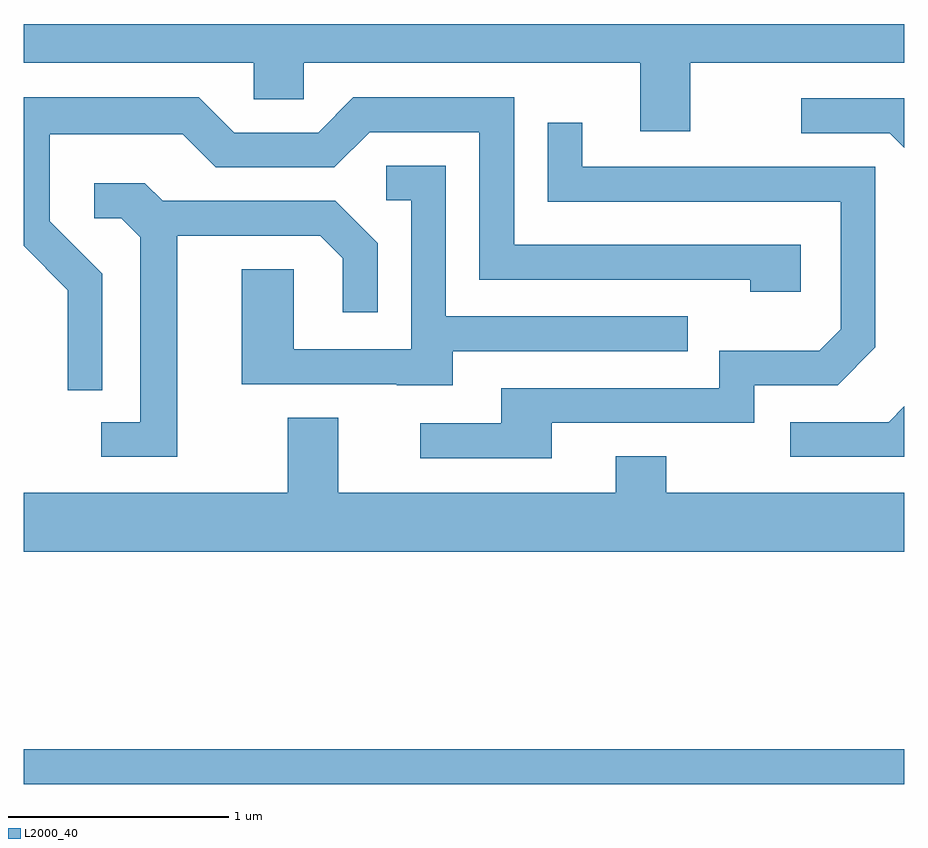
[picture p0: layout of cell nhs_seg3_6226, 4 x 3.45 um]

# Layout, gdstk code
import gdstk
lib = gdstk.Library(unit=1e-6, precision=1e-09)
def R(c, l, rs):  # rectangles x0, y0, x1, y1
    for r in rs: c.add(gdstk.rectangle(r[:2], r[2:], *l))
def P(c, l, *ps):  # polygons
    for p in ps: c.add(gdstk.Polygon(p, *l))
L2000_40 = (2000, 40)

nhs_seg3_6226 = lib.new_cell('nhs_seg3_6226')
R(nhs_seg3_6226, L2000_40, [(367.611,1200.441,371.611,1200.599)])
P(nhs_seg3_6226, L2000_40, [(370.639,1203.716),(371.611,1203.716),(371.611,1203.892),(367.611,1203.892),(367.611,1203.716),(368.656,1203.716),(368.656,1203.551),(368.884,1203.551),(368.884,1203.716),(370.411,1203.716),(370.411,1203.406),(370.639,1203.406)],
  [(367.969,1202.757),(367.729,1202.997),(367.729,1203.391),(368.334,1203.391),(368.484,1203.241),(369.022,1203.241),(369.182,1203.401),(369.681,1203.401),(369.681,1202.731),(370.911,1202.731),(370.911,1202.676),(371.139,1202.676),(371.139,1202.889),(369.839,1202.889),(369.839,1203.559),(369.109,1203.559),(368.949,1203.399),(368.567,1203.399),(368.407,1203.559),(367.611,1203.559),(367.611,1202.884),(367.811,1202.684),(367.811,1202.228),(367.969,1202.228)],
  [(371.611,1203.554),(371.143,1203.554),(371.143,1203.396),(371.544,1203.396),(371.611,1203.329)],
  [(370.009,1202.081),(370.929,1202.081),(370.929,1202.251),(371.307,1202.251),(371.479,1202.424),(371.479,1203.244),(370.149,1203.244),(370.149,1203.443),(369.991,1203.443),(369.991,1203.086),(371.321,1203.086),(371.321,1202.507),(371.224,1202.409),(370.771,1202.409),(370.771,1202.239),(369.781,1202.239),(369.781,1202.079),(369.413,1202.079),(369.413,1201.921),(370.009,1201.921)],
  [(369.559,1202.406),(370.628,1202.406),(370.628,1202.564),(369.529,1202.564),(369.529,1203.249),(369.258,1203.249),(369.258,1203.091),(369.371,1203.091),(369.371,1202.414),(368.839,1202.414),(368.839,1202.779),(368.601,1202.779),(368.601,1202.256),(369.305,1202.256),(369.305,1202.251),(369.559,1202.251)],
  [(368.309,1202.931),(368.959,1202.931),(369.061,1202.829),(369.061,1202.583),(369.219,1202.583),(369.219,1202.897),(369.027,1203.089),(368.242,1203.089),(368.162,1203.169),(367.933,1203.169),(367.933,1203.011),(368.054,1203.011),(368.141,1202.924),(368.141,1202.084),(367.963,1202.084),(367.963,1201.926),(368.309,1201.926)],
  [(371.611,1202.157),(371.539,1202.084),(371.093,1202.084),(371.093,1201.926),(371.611,1201.926)],
  [(371.611,1201.764),(370.529,1201.764),(370.529,1201.929),(370.301,1201.929),(370.301,1201.764),(369.039,1201.764),(369.039,1202.104),(368.811,1202.104),(368.811,1201.764),(367.611,1201.764),(367.611,1201.496),(371.611,1201.496)])

lib.write_gds('nhs_seg3_6226.gds')
